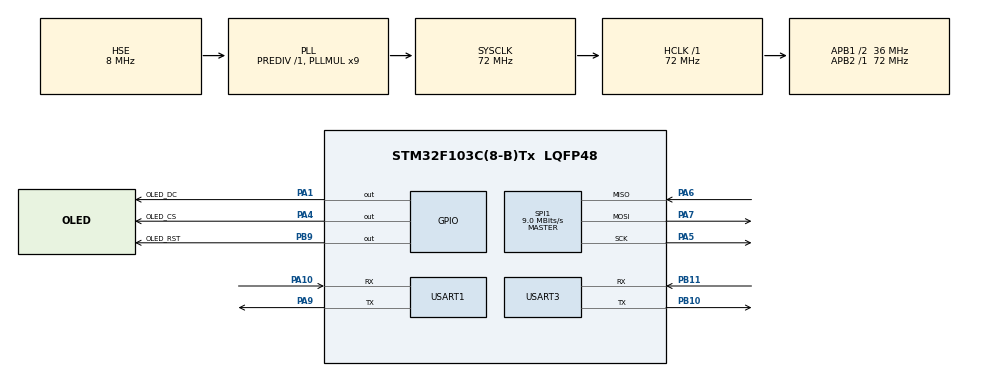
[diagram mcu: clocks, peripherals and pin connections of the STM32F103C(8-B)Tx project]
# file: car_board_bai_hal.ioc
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Mcu.Family=STM32F1
Mcu.Name=STM32F103C(8-B)Tx
Mcu.Package=LQFP48
NVIC.PriorityGroup=NVIC_PRIORITYGROUP_4
PA1.GPIO_Label=OLED_DC
PA1.GPIO_ModeDefaultOutputPP=GPIO_MODE_OUTPUT_PP
PA1.Signal=GPIO_Output
PA10.Mode=Asynchronous
PA10.Signal=USART1_RX
PA13.Mode=Serial_Wire
PA13.Signal=SYS_JTMS-SWDIO
PA14.Mode=Serial_Wire
PA14.Signal=SYS_JTCK-SWCLK
PA4.GPIO_Label=OLED_CS
PA4.PinState=GPIO_PIN_SET
PA4.Signal=GPIO_Output
PA5.Mode=Full_Duplex_Master
PA5.Signal=SPI1_SCK
PA6.Mode=Full_Duplex_Master
PA6.Signal=SPI1_MISO
PA7.Mode=Full_Duplex_Master
PA7.Signal=SPI1_MOSI
PA9.Mode=Asynchronous
PA9.Signal=USART1_TX
PB10.Mode=Asynchronous
PB10.Signal=USART3_TX
PB11.Mode=Asynchronous
PB11.Signal=USART3_RX
PB9.GPIO_Label=OLED_RST
PB9.PinState=GPIO_PIN_SET
PB9.Signal=GPIO_Output
PC14-OSC32_IN.Mode=LSE-External-Oscillator
PC14-OSC32_IN.Signal=RCC_OSC32_IN
PC15-OSC32_OUT.Mode=LSE-External-Oscillator
PC15-OSC32_OUT.Signal=RCC_OSC32_OUT
PD0-OSC_IN.Mode=HSE-External-Oscillator
PD0-OSC_IN.Signal=RCC_OSC_IN
PD1-OSC_OUT.Mode=HSE-External-Oscillator
PD1-OSC_OUT.Signal=RCC_OSC_OUT
ProjectManager.HeapSize=0x200
ProjectManager.StackSize=0x400
ProjectManager.TargetToolchain=CMake
RCC.AHBFreq_Value=72000000
RCC.APB1CLKDivider=RCC_HCLK_DIV2
RCC.APB1Freq_Value=36000000
RCC.APB1TimFreq_Value=72000000
RCC.APB2Freq_Value=72000000
RCC.APB2TimFreq_Value=72000000
RCC.HCLKFreq_Value=72000000
RCC.PLLMUL=RCC_PLL_MUL9
RCC.PLLSourceVirtual=RCC_PLLSOURCE_HSE
RCC.SYSCLKFreq_VALUE=72000000
RCC.SYSCLKSource=RCC_SYSCLKSOURCE_PLLCLK
RCC.USBFreq_Value=72000000
SPI1.BaudRatePrescaler=SPI_BAUDRATEPRESCALER_8
SPI1.CalculateBaudRate=9.0 MBits/s
SPI1.Direction=SPI_DIRECTION_2LINES
SPI1.Mode=SPI_MODE_MASTER
SPI1.VirtualType=VM_MASTER
USART1.VirtualMode=VM_ASYNC
USART3.VirtualMode=VM_ASYNC
board=custom

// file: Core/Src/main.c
/* USER CODE BEGIN Header */
/**
  ******************************************************************************
  * @file           : main.c
  * @brief          : Main program body
  ******************************************************************************
  * @attention
  *
  * Copyright (c) 2026 STMicroelectronics.
  * All rights reserved.
  *
  * This software is licensed under terms that can be found in the LICENSE file
  * in the root directory of this software component.
  * If no LICENSE file comes with this software, it is provided AS-IS.
  *
  ******************************************************************************
  */
/* USER CODE END Header */
#include "main.h"
#include "spi.h"
#include "usart.h"
#include "gpio.h"

/* USER CODE BEGIN Includes */
#include <stdio.h>
#include "oled.h"
#include "esp32.h"
#include "wifi.h"
/* USER CODE END Includes */

void SystemClock_Config(void);

int main(void)
{

  /* MCU Configuration--------------------------------------------------------*/

  /* Reset of all peripherals, Initializes the Flash interface and the Systick. */
  HAL_Init();

  /* Configure the system clock */
  SystemClock_Config();

  /* Initialize all configured peripherals */
  MX_GPIO_Init();
  MX_USART3_UART_Init();
  MX_SPI1_Init();
  MX_USART1_UART_Init();
  /* USER CODE BEGIN 2 */
  printf("串口打印测试\r\n");

  OLED_Init();
  OLED_PrintReset();

    printf("串口打印测试\r\n");
  /* 1. 测试 AT 启动 */
  ESP32_Init();

  /* 2. 查看版本信息 */
  printf("查看版本信息\r\n");
  ESP32_Send_CMD("AT+GMR\r\n", 8,5000U);

  // 3、启动网络
  WIFI_Init();

  // 4、开启UDP客户端
  WIFI_StartUdpClient();
  // 5、UDP客户端数据处理
  uint8_t rx_Buff[1024] = {0};
  uint16_t real_receive_len = 0;
  uint8_t ip[16] = {0};
  // 服务端的
  uint16_t port = 9000;
  uint8_t udp_reply[] = "UDP client received.\n";
  uint8_t ping[] = "ping\n";
  WIFI_SendUdpData(ping,(uint16_t)(sizeof(ping) - 1U));

  /* USER CODE END 2 */

  /* Infinite loop */
  while (1)
  {
      // 监听esp32（串口1）读到的数据
    WIFI_ReadUdpData(rx_Buff, sizeof(rx_Buff),ip, &port, &real_receive_len);
    if (real_receive_len > 0){
      printf("ip:%s,port:%d,data:%s\n", ip, port, rx_Buff);
      OLED_PrintLine("ip:%s,port:%d,data:%s", ip, port, rx_Buff);
      //Esp32_Send_Data(rx_Buff, real_receive_len, id);
      WIFI_SendUdpData(udp_reply,(uint16_t)(sizeof(udp_reply) - 1U));
      real_receive_len = 0;
    }
  }
}

void SystemClock_Config(void)
{
  RCC_OscInitTypeDef RCC_OscInitStruct = {0};
  RCC_ClkInitTypeDef RCC_ClkInitStruct = {0};

  /** Initializes the RCC Oscillators according to the specified parameters
  * in the RCC_OscInitTypeDef structure.
  */
  RCC_OscInitStruct.OscillatorType = RCC_OSCILLATORTYPE_HSE;
  RCC_OscInitStruct.HSEState = RCC_HSE_ON;
  RCC_OscInitStruct.HSEPredivValue = RCC_HSE_PREDIV_DIV1;
  RCC_OscInitStruct.HSIState = RCC_HSI_ON;
  RCC_OscInitStruct.PLL.PLLState = RCC_PLL_ON;
  RCC_OscInitStruct.PLL.PLLSource = RCC_PLLSOURCE_HSE;
  RCC_OscInitStruct.PLL.PLLMUL = RCC_PLL_MUL9;
  if (HAL_RCC_OscConfig(&RCC_OscInitStruct) != HAL_OK)
  {
    Error_Handler();
  }

  /** Initializes the CPU, AHB and APB buses clocks
  */
  RCC_ClkInitStruct.ClockType = RCC_CLOCKTYPE_HCLK|RCC_CLOCKTYPE_SYSCLK
                              |RCC_CLOCKTYPE_PCLK1|RCC_CLOCKTYPE_PCLK2;
  RCC_ClkInitStruct.SYSCLKSource = RCC_SYSCLKSOURCE_PLLCLK;
  RCC_ClkInitStruct.AHBCLKDivider = RCC_SYSCLK_DIV1;
  RCC_ClkInitStruct.APB1CLKDivider = RCC_HCLK_DIV2;
  RCC_ClkInitStruct.APB2CLKDivider = RCC_HCLK_DIV1;

  if (HAL_RCC_ClockConfig(&RCC_ClkInitStruct, FLASH_LATENCY_2) != HAL_OK)
  {
    Error_Handler();
  }
}

void Error_Handler(void)
{
  __disable_irq();
  while (1)
  {
  }
}
